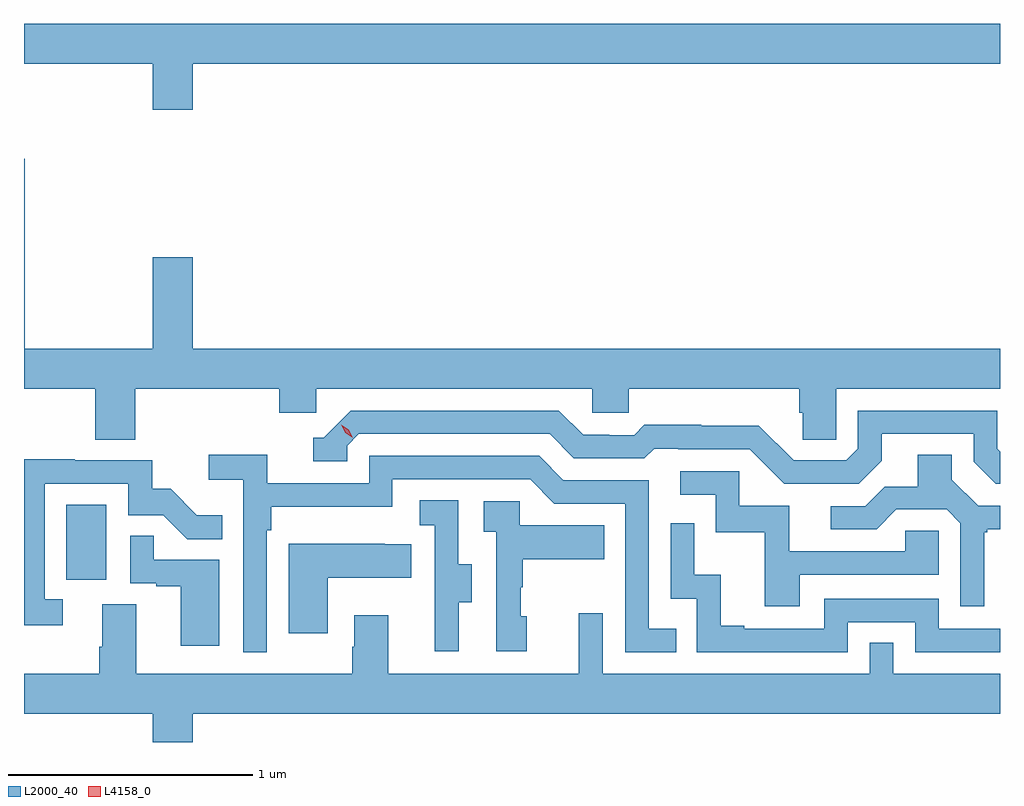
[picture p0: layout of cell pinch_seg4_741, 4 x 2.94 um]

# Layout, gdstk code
import gdstk
lib = gdstk.Library(unit=1e-6, precision=1e-09)
def R(c, l, rs):  # rectangles x0, y0, x1, y1
    for r in rs: c.add(gdstk.rectangle(r[:2], r[2:], *l))
def P(c, l, *ps):  # polygons
    for p in ps: c.add(gdstk.Polygon(p, *l))
L2000_40 = (2000, 40)
L4158_0 = (4158, 0)

pinch_seg4_741 = lib.new_cell('pinch_seg4_741')
R(pinch_seg4_741, L2000_40, [(859.958,822.678,860.122,822.985)])
P(pinch_seg4_741, L2000_40, [(860.476,824.792),(863.784,824.792),(863.784,824.956),(859.784,824.956),(859.784,824.792),(860.312,824.792),(860.312,824.604),(860.476,824.604)],
  [(860.24,823.46),(860.831,823.46),(860.831,823.362),(860.982,823.362),(860.982,823.46),(862.113,823.46),(862.113,823.362),(862.263,823.362),(862.263,823.46),(862.961,823.46),(862.961,823.362),(862.975,823.362),(862.975,823.252),(863.112,823.252),(863.112,823.46),(863.784,823.46),(863.784,823.624),(860.476,823.624),(860.476,823.999),(860.312,823.999),(860.312,823.624),(859.787,823.624),(859.787,824.403),(859.784,824.403),(859.784,823.46),(860.075,823.46),(860.075,823.252),(860.24,823.252)],
  [(863.299,823.165),(863.299,823.275),(863.676,823.275),(863.676,823.161),(863.766,823.071),(863.784,823.071),(863.784,823.203),(863.772,823.215),(863.772,823.371),(863.202,823.371),(863.202,823.215),(863.154,823.167),(862.938,823.167),(862.796,823.309),(862.56,823.309),(862.56,823.312),(862.327,823.312),(862.285,823.269),(862.182,823.269),(862.182,823.272),(862.075,823.272),(861.976,823.371),(861.123,823.371),(861.012,823.26),(860.969,823.26),(860.969,823.164),(861.108,823.164),(861.108,823.227),(861.156,823.275),(861.939,823.275),(862.038,823.176),(862.327,823.176),(862.366,823.215),(862.465,823.215),(862.465,823.212),(862.758,823.212),(862.899,823.071),(863.205,823.071)],
  [(860.778,822.881),(860.798,822.881),(860.798,822.977),(861.294,822.977),(861.294,823.089),(861.858,823.089),(861.957,822.99),(862.248,822.99),(862.248,822.381),(862.457,822.381),(862.457,822.477),(862.344,822.477),(862.344,823.086),(861.994,823.086),(861.895,823.185),(861.198,823.185),(861.198,823.074),(860.78,823.074),(860.78,823.19),(860.541,823.19),(860.541,823.088),(860.682,823.088),(860.682,822.381),(860.778,822.381)],
  [(863.719,822.873),(863.731,822.873),(863.731,822.884),(863.784,822.884),(863.784,822.981),(863.694,822.981),(863.587,823.088),(863.587,823.19),(863.447,823.19),(863.447,823.058),(863.312,823.058),(863.232,822.978),(863.091,822.978),(863.091,822.885),(863.278,822.885),(863.359,822.966),(863.565,822.966),(863.622,822.909),(863.622,822.57),(863.719,822.57)],
  [(859.942,822.597),(859.869,822.597),(859.869,823.071),(860.211,823.071),(860.211,822.942),(860.355,822.942),(860.453,822.844),(860.597,822.844),(860.597,822.943),(860.493,822.943),(860.386,823.05),(860.31,823.05),(860.31,823.167),(859.991,823.167),(859.991,823.172),(859.784,823.172),(859.784,822.492),(859.942,822.492)],
  [(862.963,822.699),(863.532,822.699),(863.532,822.879),(863.395,822.879),(863.395,822.795),(862.921,822.795),(862.921,822.981),(862.716,822.981),(862.716,823.122),(862.473,823.122),(862.473,823.026),(862.62,823.026),(862.62,822.873),(862.819,822.873),(862.819,822.57),(862.963,822.57)],
  [(861.565,822.586),(861.619,822.586),(861.619,822.741),(861.564,822.741),(861.564,823.004),(861.405,823.004),(861.405,822.901),(861.468,822.901),(861.468,822.597),(861.467,822.597),(861.467,822.384),(861.565,822.384)],
  [(861.844,822.528),(861.819,822.528),(861.819,822.647),(861.829,822.647),(861.829,822.761),(862.163,822.761),(862.163,822.901),(861.816,822.901),(861.816,822.999),(861.669,822.999),(861.669,822.875),(861.72,822.875),(861.72,822.384),(861.844,822.384)],
  [(863.16,822.504),(863.436,822.504),(863.436,822.381),(863.784,822.381),(863.784,822.477),(863.532,822.477),(863.532,822.6),(863.064,822.6),(863.064,822.477),(862.735,822.477),(862.735,822.49),(862.64,822.49),(862.64,822.698),(862.53,822.698),(862.53,822.91),(862.434,822.91),(862.434,822.6),(862.542,822.6),(862.542,822.381),(863.16,822.381)],
  [(860.584,822.759),(860.315,822.759),(860.315,822.857),(860.22,822.857),(860.22,822.663),(860.327,822.663),(860.327,822.651),(860.426,822.651),(860.426,822.408),(860.584,822.408)],
  [(861.028,822.686),(861.371,822.686),(861.371,822.823),(861.263,822.823),(861.263,822.826),(860.87,822.826),(860.87,822.459),(861.028,822.459)],
  [(860.476,822.128),(863.784,822.128),(863.784,822.292),(863.346,822.292),(863.346,822.419),(863.25,822.419),(863.25,822.292),(862.155,822.292),(862.155,822.541),(862.058,822.541),(862.058,822.292),(861.277,822.292),(861.277,822.532),(861.137,822.532),(861.137,822.404),(861.13,822.404),(861.13,822.292),(860.245,822.292),(860.245,822.578),(860.105,822.578),(860.105,822.404),(860.093,822.404),(860.093,822.292),(859.784,822.292),(859.784,822.128),(860.312,822.128),(860.312,822.012),(860.476,822.012)])
P(pinch_seg4_741, L4158_0, [(861.131,823.26),(861.1,823.28),(861.084,823.312),(861.084,823.313),(861.085,823.313),(861.115,823.293),(861.131,823.26),(861.131,823.26)])

lib.write_gds('pinch_seg4_741.gds')
